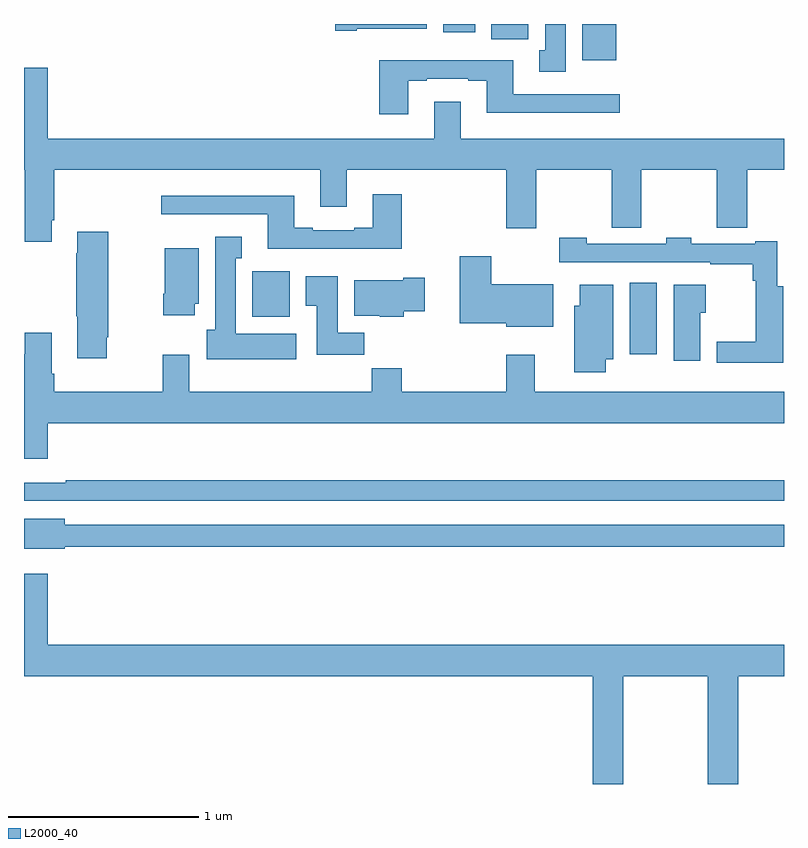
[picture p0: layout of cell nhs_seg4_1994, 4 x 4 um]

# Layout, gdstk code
import gdstk
lib = gdstk.Library(unit=1e-6, precision=1e-09)
def R(c, l, rs):  # rectangles x0, y0, x1, y1
    for r in rs: c.add(gdstk.rectangle(r[:2], r[2:], *l))
def P(c, l, *ps):  # polygons
    for p in ps: c.add(gdstk.Polygon(p, *l))
L2000_40 = (2000, 40)

nhs_seg4_1994 = lib.new_cell('nhs_seg4_1994')
R(nhs_seg4_1994, L2000_40, [(216.188,817.161,216.331,817.537), (214.202,817.358,214.399,817.6), (215.939,818.708,216.118,818.9), (215.459,818.82,215.655,818.9), (215.207,818.856,215.374,818.9)])
P(nhs_seg4_1994, L2000_40, [(214.75,818.876),(215.119,818.876),(215.119,818.9),(214.638,818.9),(214.638,818.864),(214.75,818.864)],
  [(215.851,818.9),(215.744,818.9),(215.744,818.761),(215.711,818.761),(215.711,818.649),(215.851,818.649)],
  [(215.023,818.601),(215.119,818.601),(215.119,818.613),(215.339,818.613),(215.339,818.601),(215.435,818.601),(215.435,818.432),(216.136,818.432),(216.136,818.529),(215.575,818.529),(215.575,818.71),(214.871,818.71),(214.871,818.424),(215.023,818.424)],
  [(213.145,817.867),(213.158,817.867),(213.158,818.132),(214.559,818.132),(214.559,817.938),(214.699,817.938),(214.699,818.132),(215.537,818.132),(215.537,817.824),(215.697,817.824),(215.697,818.132),(216.094,818.132),(216.094,817.828),(216.248,817.828),(216.248,818.132),(216.646,818.132),(216.646,817.828),(216.806,817.828),(216.806,818.132),(217,818.132),(217,818.296),(215.299,818.296),(215.299,818.491),(215.159,818.491),(215.159,818.296),(213.124,818.296),(213.124,818.671),(213,818.671),(213,818.132),(213.005,818.132),(213.005,817.755),(213.145,817.755)],
  [(214.988,818.005),(214.835,818.005),(214.835,817.828),(214.739,817.828),(214.739,817.815),(214.519,817.815),(214.519,817.828),(214.423,817.828),(214.423,817.996),(213.723,817.996),(213.723,817.899),(214.283,817.899),(214.283,817.718),(214.988,817.718)],
  [(213.436,817.252),(213.444,817.252),(213.444,817.807),(213.281,817.807),(213.281,817.694),(213.274,817.694),(213.274,817.363),(213.281,817.363),(213.281,817.14),(213.436,817.14)],
  [(214.432,817.27),(214.114,817.27),(214.114,817.667),(214.147,817.667),(214.147,817.78),(214.007,817.78),(214.007,817.29),(213.962,817.29),(213.962,817.136),(214.432,817.136)],
  [(216.996,817.519),(216.964,817.519),(216.964,817.756),(216.848,817.756),(216.848,817.743),(216.513,817.743),(216.513,817.776),(216.381,817.776),(216.381,817.743),(215.961,817.743),(215.961,817.776),(215.817,817.776),(215.817,817.647),(216.613,817.647),(216.613,817.635),(216.835,817.635),(216.835,817.55),(216.85,817.55),(216.85,817.228),(216.645,817.228),(216.645,817.118),(216.996,817.118)],
  [(213.898,817.428),(213.919,817.428),(213.919,817.72),(213.74,817.72),(213.74,817.48),(213.733,817.48),(213.733,817.368),(213.898,817.368)],
  [(215.785,817.531),(215.46,817.531),(215.46,817.678),(215.294,817.678),(215.294,817.325),(215.538,817.325),(215.538,817.307),(215.785,817.307)],
  [(214.79,817.276),(214.651,817.276),(214.651,817.573),(214.484,817.573),(214.484,817.417),(214.541,817.417),(214.541,817.158),(214.79,817.158)],
  [(214.998,817.387),(215.11,817.387),(215.11,817.565),(214.997,817.565),(214.997,817.552),(214.739,817.552),(214.739,817.364),(214.872,817.364),(214.872,817.358),(214.998,817.358)],
  [(216.063,817.136),(216.1,817.136),(216.1,817.528),(215.924,817.528),(215.924,817.416),(215.897,817.416),(215.897,817.068),(216.063,817.068)],
  [(216.559,817.381),(216.589,817.381),(216.589,817.528),(216.419,817.528),(216.419,817.128),(216.559,817.128)],
  [(213.124,816.8),(217,816.8),(217,816.964),(215.689,816.964),(215.689,817.159),(215.537,817.159),(215.537,816.964),(214.988,816.964),(214.988,817.088),(214.831,817.088),(214.831,816.964),(213.871,816.964),(213.871,817.159),(213.731,817.159),(213.731,816.964),(213.158,816.964),(213.158,817.06),(213.145,817.06),(213.145,817.276),(213.005,817.276),(213.005,817.163),(213,817.163),(213,816.612),(213.124,816.612)],
  [(217,816.499),(213.22,816.499),(213.22,816.486),(213,816.486),(213,816.39),(217,816.39)],
  [(213.214,816.148),(217,816.148),(217,816.264),(213.214,816.264),(213.214,816.295),(213,816.295),(213,816.137),(213.214,816.137)],
  [(216.153,815.468),(216.598,815.468),(216.598,814.9),(216.758,814.9),(216.758,815.468),(217,815.468),(217,815.632),(213.124,815.632),(213.124,816.007),(213,816.007),(213,815.468),(215.993,815.468),(215.993,814.9),(216.153,814.9)])

lib.write_gds('nhs_seg4_1994.gds')
